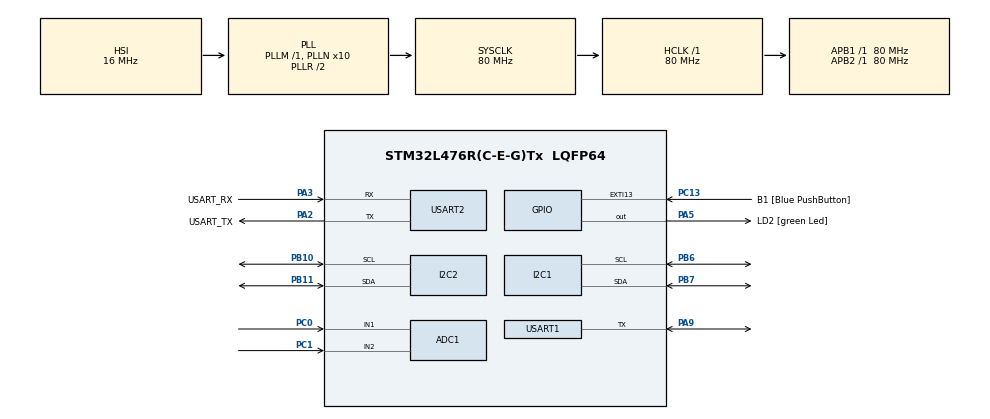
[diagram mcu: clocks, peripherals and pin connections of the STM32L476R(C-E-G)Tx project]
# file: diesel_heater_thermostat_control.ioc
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ADC1.Channel-0\#ChannelRegularConversion=ADC_CHANNEL_1
ADC1.NbrOfConversionFlag=1
ADC1.OffsetNumber-0\#ChannelRegularConversion=ADC_OFFSET_NONE
ADC1.Rank-0\#ChannelRegularConversion=1
ADC1.SamplingTime-0\#ChannelRegularConversion=ADC_SAMPLETIME_2CYCLES_5
ADC1.master=1
FREERTOS.Mutexes01=heaterLevelMutex,Dynamic,NULL;errorStateMutex,Dynamic,NULL
FREERTOS.Tasks01=ledTask,24,256,StartLedTask,Default,NULL,Dynamic,NULL,NULL;tempRead,8,256,startTempRead,Default,NULL,Dynamic,NULL,NULL
FREERTOS.configMINIMAL_STACK_SIZE=256
FREERTOS.configUSE_NEWLIB_REENTRANT=1
I2C1.Timing=0x10909CEC
I2C2.Timing=0x10909CEC
Mcu.Family=STM32L4
Mcu.Name=STM32L476R(C-E-G)Tx
Mcu.Package=LQFP64
NVIC.PriorityGroup=NVIC_PRIORITYGROUP_4
NVIC.TIM6_DAC_IRQn=true\:15\:0\:false\:false\:true\:false\:false\:true\:true
NVIC.TimeBase=TIM6_DAC_IRQn
NVIC.TimeBaseIP=TIM6
NVIC.USART1_IRQn=true\:5\:0\:false\:false\:true\:true\:true\:true\:true
PA13\ (JTMS-SWDIO).GPIO_Label=TMS
PA13\ (JTMS-SWDIO).Mode=Serial_Wire
PA13\ (JTMS-SWDIO).Signal=SYS_JTMS-SWDIO
PA14\ (JTCK-SWCLK).GPIO_Label=TCK
PA14\ (JTCK-SWCLK).Mode=Serial_Wire
PA14\ (JTCK-SWCLK).Signal=SYS_JTCK-SWCLK
PA2.GPIO_Label=USART_TX
PA2.GPIO_Mode=GPIO_MODE_AF_PP
PA2.GPIO_PuPd=GPIO_NOPULL
PA2.GPIO_Speed=GPIO_SPEED_FREQ_VERY_HIGH
PA2.Mode=Asynchronous
PA2.Signal=USART2_TX
PA3.GPIO_Label=USART_RX
PA3.GPIO_Mode=GPIO_MODE_AF_PP
PA3.GPIO_PuPd=GPIO_NOPULL
PA3.GPIO_Speed=GPIO_SPEED_FREQ_VERY_HIGH
PA3.Mode=Asynchronous
PA3.Signal=USART2_RX
PA5.GPIO_Label=LD2 [green Led]
PA5.GPIO_ModeDefaultOutputPP=GPIO_MODE_OUTPUT_PP
PA5.GPIO_PuPd=GPIO_NOPULL
PA5.GPIO_Speed=GPIO_SPEED_FREQ_LOW
PA5.Signal=GPIO_Output
PA9.Mode=Half_duplex(single_wire_mode)
PA9.Signal=USART1_TX
PB10.Mode=I2C
PB10.Signal=I2C2_SCL
PB11.Mode=I2C
PB11.Signal=I2C2_SDA
PB3\ (JTDO-TRACESWO).GPIO_Label=SWO
PB3\ (JTDO-TRACESWO).Signal=SYS_JTDO-SWO
PB6.Mode=I2C
PB6.Signal=I2C1_SCL
PB7.Mode=I2C
PB7.Signal=I2C1_SDA
PC0.Signal=ADCx_IN1
PC1.Signal=ADCx_IN2
PC13.GPIO_Label=B1 [Blue PushButton]
PC13.GPIO_ModeDefaultEXTI=GPIO_MODE_IT_FALLING
PC13.GPIO_PuPd=GPIO_NOPULL
PC13.Signal=GPXTI13
PC14-OSC32_IN\ (PC14).Signal=RCC_OSC32_IN
PC15-OSC32_OUT\ (PC15).Signal=RCC_OSC32_OUT
PH0-OSC_IN\ (PH0).Signal=RCC_OSC_IN
PH1-OSC_OUT\ (PH1).Signal=RCC_OSC_OUT
ProjectManager.HeapSize=0x200
ProjectManager.StackSize=0x400
ProjectManager.TargetToolchain=STM32CubeIDE
RCC.ADCFreq_Value=64000000
RCC.AHBFreq_Value=80000000
RCC.APB1Freq_Value=80000000
RCC.APB1TimFreq_Value=80000000
RCC.APB2Freq_Value=80000000
RCC.APB2TimFreq_Value=80000000
RCC.CortexFreq_Value=80000000
RCC.HCLKFreq_Value=80000000
RCC.HSE_VALUE=8000000
RCC.HSI_VALUE=16000000
RCC.LSE_VALUE=32768
RCC.MSI_VALUE=4000000
RCC.PLLN=10
RCC.PLLSourceVirtual=RCC_PLLSOURCE_HSI
RCC.PREFETCH_ENABLE=1
RCC.SYSCLKFreq_VALUE=80000000
RCC.SYSCLKSource=RCC_SYSCLKSOURCE_PLLCLK
RCC.USBFreq_Value=64000000
RCC.VCOOutputFreq_Value=160000000
SH.ADCx_IN1.0=ADC1_IN1,IN1-Single-Ended
SH.ADCx_IN2.0=ADC1_IN2,IN2-Single-Ended
USART1.VirtualMode-Half_duplex(single_wire_mode)=VM_ASYNC
USART2.VirtualMode-Asynchronous=VM_ASYNC
VP_FREERTOS_VS_CMSIS_V2.Mode=CMSIS_V2
VP_SYS_VS_tim6.Mode=TIM6
board=NUCLEO-L476RG

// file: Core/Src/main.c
/* USER CODE BEGIN Header */
/**
 ******************************************************************************
 * @file           : main.c
 * @brief          : Main program body
 ******************************************************************************
 * @attention
 *
 * Copyright (c) 2023 STMicroelectronics.
 * All rights reserved.
 *
 * This software is licensed under terms that can be found in the LICENSE file
 * in the root directory of this software component.
 * If no LICENSE file comes with this software, it is provided AS-IS.
 *
 ******************************************************************************
 */
/* USER CODE END Header */
#include "main.h"
#include "cmsis_os.h"

/* USER CODE BEGIN Includes */

#include "error_def.hpp"
#include "bmp180_for_stm32_hal.h"

/* USER CODE END Includes */

ADC_HandleTypeDef hadc1;

I2C_HandleTypeDef hi2c1;
I2C_HandleTypeDef hi2c2;

UART_HandleTypeDef huart1;
UART_HandleTypeDef huart2;

/* Definitions for ledTask */
osThreadId_t ledTaskHandle;
const osThreadAttr_t ledTask_attributes = {
  .name = "ledTask",
  .stack_size = 256 * 4,
  .priority = (osPriority_t) osPriorityNormal,
};
/* Definitions for tempRead */
osThreadId_t tempReadHandle;
const osThreadAttr_t tempRead_attributes = {
  .name = "tempRead",
  .stack_size = 256 * 4,
  .priority = (osPriority_t) osPriorityLow,
};
/* Definitions for heaterLevelMutex */
osMutexId_t heaterLevelMutexHandle;
const osMutexAttr_t heaterLevelMutex_attributes = {
  .name = "heaterLevelMutex"
};
/* Definitions for errorStateMutex */
osMutexId_t errorStateMutexHandle;
const osMutexAttr_t errorStateMutex_attributes = {
  .name = "errorStateMutex"
};
/* USER CODE BEGIN PV */

static ERROR_TYPE_t errState = ERROR_OK;

/* USER CODE END PV */

void SystemClock_Config(void);
static void MX_GPIO_Init(void);
static void MX_USART2_UART_Init(void);
static void MX_I2C1_Init(void);
static void MX_I2C2_Init(void);
static void MX_ADC1_Init(void);
static void MX_USART1_UART_Init(void);
void StartLedTask(void *argument);
void startTempRead(void *argument);

/* USER CODE BEGIN PFP */

static void setErrorState(ERROR_TYPE_t err);
static ERROR_TYPE_t getErrorState();

/* USER CODE END PFP */

/* USER CODE BEGIN 0 */

//extern float Temp[MAXDEVICES_ON_THE_BUS];

/* USER CODE END 0 */

int main(void)
{

  /* MCU Configuration--------------------------------------------------------*/

  /* Reset of all peripherals, Initializes the Flash interface and the Systick. */
  HAL_Init();

  /* Configure the system clock */
  SystemClock_Config();

  /* Initialize all configured peripherals */
  MX_GPIO_Init();
  MX_USART2_UART_Init();
  MX_I2C1_Init();
  MX_I2C2_Init();
  MX_ADC1_Init();
  MX_USART1_UART_Init();

  /* Init scheduler */
  osKernelInitialize();
  /* Create the mutex(es) */
  /* creation of heaterLevelMutex */
  heaterLevelMutexHandle = osMutexNew(&heaterLevelMutex_attributes);

  /* creation of errorStateMutex */
  errorStateMutexHandle = osMutexNew(&errorStateMutex_attributes);

  /* Create the thread(s) */
  /* creation of ledTask */
  ledTaskHandle = osThreadNew(StartLedTask, NULL, &ledTask_attributes);

  /* creation of tempRead */
  tempReadHandle = osThreadNew(startTempRead, NULL, &tempRead_attributes);

  /* Start scheduler */
  osKernelStart();
  /* We should never get here as control is now taken by the scheduler */
  /* Infinite loop */
  while (1)
  {

  }
}

void SystemClock_Config(void)
{
  RCC_OscInitTypeDef RCC_OscInitStruct = {0};
  RCC_ClkInitTypeDef RCC_ClkInitStruct = {0};

  /** Configure the main internal regulator output voltage
  */
  if (HAL_PWREx_ControlVoltageScaling(PWR_REGULATOR_VOLTAGE_SCALE1) != HAL_OK)
  {
    Error_Handler();
  }

  /** Initializes the RCC Oscillators according to the specified parameters
  * in the RCC_OscInitTypeDef structure.
  */
  RCC_OscInitStruct.OscillatorType = RCC_OSCILLATORTYPE_HSI;
  RCC_OscInitStruct.HSIState = RCC_HSI_ON;
  RCC_OscInitStruct.HSICalibrationValue = RCC_HSICALIBRATION_DEFAULT;
  RCC_OscInitStruct.PLL.PLLState = RCC_PLL_ON;
  RCC_OscInitStruct.PLL.PLLSource = RCC_PLLSOURCE_HSI;
  RCC_OscInitStruct.PLL.PLLM = 1;
  RCC_OscInitStruct.PLL.PLLN = 10;
  RCC_OscInitStruct.PLL.PLLP = RCC_PLLP_DIV7;
  RCC_OscInitStruct.PLL.PLLQ = RCC_PLLQ_DIV2;
  RCC_OscInitStruct.PLL.PLLR = RCC_PLLR_DIV2;
  if (HAL_RCC_OscConfig(&RCC_OscInitStruct) != HAL_OK)
  {
    Error_Handler();
  }

  /** Initializes the CPU, AHB and APB buses clocks
  */
  RCC_ClkInitStruct.ClockType = RCC_CLOCKTYPE_HCLK|RCC_CLOCKTYPE_SYSCLK
                              |RCC_CLOCKTYPE_PCLK1|RCC_CLOCKTYPE_PCLK2;
  RCC_ClkInitStruct.SYSCLKSource = RCC_SYSCLKSOURCE_PLLCLK;
  RCC_ClkInitStruct.AHBCLKDivider = RCC_SYSCLK_DIV1;
  RCC_ClkInitStruct.APB1CLKDivider = RCC_HCLK_DIV1;
  RCC_ClkInitStruct.APB2CLKDivider = RCC_HCLK_DIV1;

  if (HAL_RCC_ClockConfig(&RCC_ClkInitStruct, FLASH_LATENCY_4) != HAL_OK)
  {
    Error_Handler();
  }
}

static void MX_ADC1_Init(void)
{

  ADC_MultiModeTypeDef multimode = {0};
  ADC_ChannelConfTypeDef sConfig = {0};

  /** Common config
  */
  hadc1.Instance = ADC1;
  hadc1.Init.ClockPrescaler = ADC_CLOCK_ASYNC_DIV1;
  hadc1.Init.Resolution = ADC_RESOLUTION_12B;
  hadc1.Init.DataAlign = ADC_DATAALIGN_RIGHT;
  hadc1.Init.ScanConvMode = ADC_SCAN_DISABLE;
  hadc1.Init.EOCSelection = ADC_EOC_SINGLE_CONV;
  hadc1.Init.LowPowerAutoWait = DISABLE;
  hadc1.Init.ContinuousConvMode = DISABLE;
  hadc1.Init.NbrOfConversion = 1;
  hadc1.Init.DiscontinuousConvMode = DISABLE;
  hadc1.Init.ExternalTrigConv = ADC_SOFTWARE_START;
  hadc1.Init.ExternalTrigConvEdge = ADC_EXTERNALTRIGCONVEDGE_NONE;
  hadc1.Init.DMAContinuousRequests = DISABLE;
  hadc1.Init.Overrun = ADC_OVR_DATA_PRESERVED;
  hadc1.Init.OversamplingMode = DISABLE;
  if (HAL_ADC_Init(&hadc1) != HAL_OK)
  {
    Error_Handler();
  }

  /** Configure the ADC multi-mode
  */
  multimode.Mode = ADC_MODE_INDEPENDENT;
  if (HAL_ADCEx_MultiModeConfigChannel(&hadc1, &multimode) != HAL_OK)
  {
    Error_Handler();
  }

  /** Configure Regular Channel
  */
  sConfig.Channel = ADC_CHANNEL_1;
  sConfig.Rank = ADC_REGULAR_RANK_1;
  sConfig.SamplingTime = ADC_SAMPLETIME_2CYCLES_5;
  sConfig.SingleDiff = ADC_SINGLE_ENDED;
  sConfig.OffsetNumber = ADC_OFFSET_NONE;
  sConfig.Offset = 0;
  if (HAL_ADC_ConfigChannel(&hadc1, &sConfig) != HAL_OK)
  {
    Error_Handler();
  }

}

static void MX_I2C1_Init(void)
{

  hi2c1.Instance = I2C1;
  hi2c1.Init.Timing = 0x10909CEC;
  hi2c1.Init.OwnAddress1 = 0;
  hi2c1.Init.AddressingMode = I2C_ADDRESSINGMODE_7BIT;
  hi2c1.Init.DualAddressMode = I2C_DUALADDRESS_DISABLE;
  hi2c1.Init.OwnAddress2 = 0;
  hi2c1.Init.OwnAddress2Masks = I2C_OA2_NOMASK;
  hi2c1.Init.GeneralCallMode = I2C_GENERALCALL_DISABLE;
  hi2c1.Init.NoStretchMode = I2C_NOSTRETCH_DISABLE;
  if (HAL_I2C_Init(&hi2c1) != HAL_OK)
  {
    Error_Handler();
  }

  /** Configure Analogue filter
  */
  if (HAL_I2CEx_ConfigAnalogFilter(&hi2c1, I2C_ANALOGFILTER_ENABLE) != HAL_OK)
  {
    Error_Handler();
  }

  /** Configure Digital filter
  */
  if (HAL_I2CEx_ConfigDigitalFilter(&hi2c1, 0) != HAL_OK)
  {
    Error_Handler();
  }

}

static void MX_I2C2_Init(void)
{

  hi2c2.Instance = I2C2;
  hi2c2.Init.Timing = 0x10909CEC;
  hi2c2.Init.OwnAddress1 = 0;
  hi2c2.Init.AddressingMode = I2C_ADDRESSINGMODE_7BIT;
  hi2c2.Init.DualAddressMode = I2C_DUALADDRESS_DISABLE;
  hi2c2.Init.OwnAddress2 = 0;
  hi2c2.Init.OwnAddress2Masks = I2C_OA2_NOMASK;
  hi2c2.Init.GeneralCallMode = I2C_GENERALCALL_DISABLE;
  hi2c2.Init.NoStretchMode = I2C_NOSTRETCH_DISABLE;
  if (HAL_I2C_Init(&hi2c2) != HAL_OK)
  {
    Error_Handler();
  }

  /** Configure Analogue filter
  */
  if (HAL_I2CEx_ConfigAnalogFilter(&hi2c2, I2C_ANALOGFILTER_ENABLE) != HAL_OK)
  {
    Error_Handler();
  }

  /** Configure Digital filter
  */
  if (HAL_I2CEx_ConfigDigitalFilter(&hi2c2, 0) != HAL_OK)
  {
    Error_Handler();
  }

}

static void MX_USART1_UART_Init(void)
{

  huart1.Instance = USART1;
  huart1.Init.BaudRate = 115200;
  huart1.Init.WordLength = UART_WORDLENGTH_8B;
  huart1.Init.StopBits = UART_STOPBITS_1;
  huart1.Init.Parity = UART_PARITY_NONE;
  huart1.Init.Mode = UART_MODE_TX_RX;
  huart1.Init.HwFlowCtl = UART_HWCONTROL_NONE;
  huart1.Init.OverSampling = UART_OVERSAMPLING_16;
  huart1.Init.OneBitSampling = UART_ONE_BIT_SAMPLE_DISABLE;
  huart1.AdvancedInit.AdvFeatureInit = UART_ADVFEATURE_NO_INIT;
  if (HAL_HalfDuplex_Init(&huart1) != HAL_OK)
  {
    Error_Handler();
  }

}

static void MX_USART2_UART_Init(void)
{

  huart2.Instance = USART2;
  huart2.Init.BaudRate = 115200;
  huart2.Init.WordLength = UART_WORDLENGTH_8B;
  huart2.Init.StopBits = UART_STOPBITS_1;
  huart2.Init.Parity = UART_PARITY_NONE;
  huart2.Init.Mode = UART_MODE_TX_RX;
  huart2.Init.HwFlowCtl = UART_HWCONTROL_NONE;
  huart2.Init.OverSampling = UART_OVERSAMPLING_16;
  huart2.Init.OneBitSampling = UART_ONE_BIT_SAMPLE_DISABLE;
  huart2.AdvancedInit.AdvFeatureInit = UART_ADVFEATURE_NO_INIT;
  if (HAL_UART_Init(&huart2) != HAL_OK)
  {
    Error_Handler();
  }

}

static void MX_GPIO_Init(void)
{
  GPIO_InitTypeDef GPIO_InitStruct = {0};

  /* GPIO Ports Clock Enable */
  __HAL_RCC_GPIOC_CLK_ENABLE();
  __HAL_RCC_GPIOH_CLK_ENABLE();
  __HAL_RCC_GPIOA_CLK_ENABLE();
  __HAL_RCC_GPIOB_CLK_ENABLE();

  /*Configure GPIO pin Output Level */
  HAL_GPIO_WritePin(LD2_GPIO_Port, LD2_Pin, GPIO_PIN_RESET);

  /*Configure GPIO pin : B1_Pin */
  GPIO_InitStruct.Pin = B1_Pin;
  GPIO_InitStruct.Mode = GPIO_MODE_IT_FALLING;
  GPIO_InitStruct.Pull = GPIO_NOPULL;
  HAL_GPIO_Init(B1_GPIO_Port, &GPIO_InitStruct);

  /*Configure GPIO pin : LD2_Pin */
  GPIO_InitStruct.Pin = LD2_Pin;
  GPIO_InitStruct.Mode = GPIO_MODE_OUTPUT_PP;
  GPIO_InitStruct.Pull = GPIO_NOPULL;
  GPIO_InitStruct.Speed = GPIO_SPEED_FREQ_LOW;
  HAL_GPIO_Init(LD2_GPIO_Port, &GPIO_InitStruct);

}

/* USER CODE BEGIN 4 */

void setErrorState(ERROR_TYPE_t err) {
	osMutexAcquire(errorStateMutexHandle, 100);
	    errState = err;
	    osMutexRelease(errorStateMutexHandle);
}
ERROR_TYPE_t getErrorState() {
	ERROR_TYPE_t temp;
	osMutexAcquire(errorStateMutexHandle, 100);
		    temp = errState;
		    osMutexRelease(errorStateMutexHandle);
		    return temp;
}

/* USER CODE END 4 */

void StartLedTask(void *argument)
{
  /* USER CODE BEGIN 5 */
  /* Infinite loop */
  for (;;)
  {
	  ERROR_TYPE_t err = getErrorState();

    HAL_GPIO_TogglePin(LD2_GPIO_Port, LD2_Pin);
    switch (err)
    {
    case ERROR_OK:
      osDelay(500);
    case ERROR_FATAL:
      osDelay(100);
    }
    osDelay(1);
  }
  /* USER CODE END 5 */
}

/* USER CODE BEGIN Header_startTempRead */
/**
 * @brief Function implementing the tempRead thread.
 * @param argumenst: Not used
 * @retval None
 */
/* USER CODE END Header_startTempRead */
void startTempRead(void *argument)
{
  /* USER CODE BEGIN startTempRead */
	BMP180_Init(&hi2c1);
	BMP180_SetOversampling(BMP180_ULTRA);
  /* Update calibration data. Must be called once before entering main loop. */
	BMP180_UpdateCalibrationData();
	/* Infinite loop */
  for (;;)
  {
	 /* Reads temperature. */
	  int32_t temperature = BMP180_GetRawTemperature();
		int32_t pressure = BMP180_GetPressure();
		int32_t altitude = BMP180_GetAltitude( pressure, ((float)temperature)/10);

		char buffer[100];
		sprintf(buffer, "Temperature: %d.%d deg C\t\tPressure: %d Pa\t\tAltitude: %d ft\r\n", temperature/10, temperature%10,pressure, altitude);
		HAL_UART_Transmit(&huart2, buffer, strlen(buffer), 1000);
    osDelay(1000);
  }
  /* USER CODE END startTempRead */
}

void HAL_TIM_PeriodElapsedCallback(TIM_HandleTypeDef *htim)
{
  if (htim->Instance == TIM6) {
    HAL_IncTick();
  }
}

void Error_Handler(void)
{
  __disable_irq();
  while (1)
  {
  }
}
